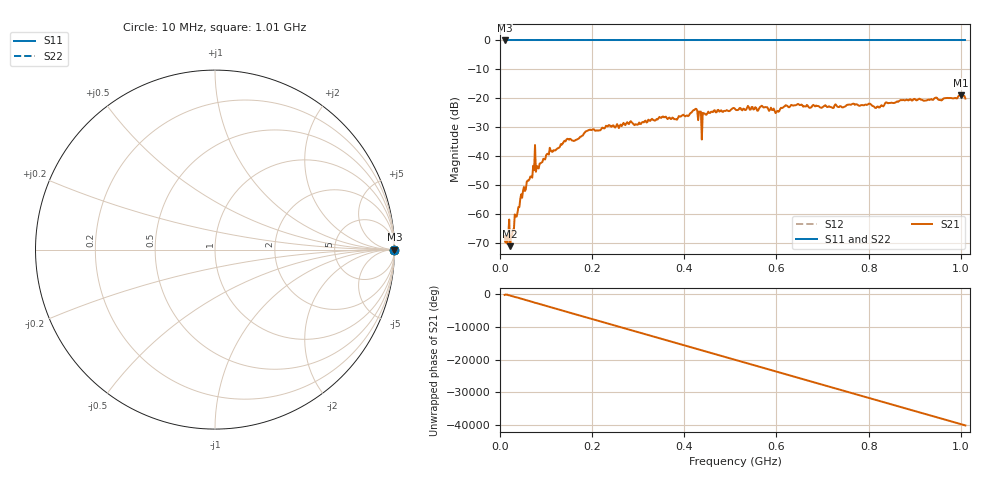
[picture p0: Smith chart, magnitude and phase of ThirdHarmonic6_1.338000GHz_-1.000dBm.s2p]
! 8/16/2025 3:00:07 PM
! C:\ANRITSUVNA\TEMP\TEMP.S2P
! CHANNEL.1
! TR.MEASUREMENT
! RAW.DATA
! RF.CORRECTION.OFF
! AVERAGING.OFF
! IF.BANDWIDTH: 5KHZ
! SWEEPTYPE:  FREQ.SWEEP(Linear)
! Reference Plane Port Info
! PORT:  PORT1  PORT2
! DISTANCE:  0  m  0  m
! TIME:  0  s  0  s
! PHASE.OFFSET:  0  deg.  0  deg.
! LOSS:  0  dB  0  dB
! REF.LOSS:  0  dB  0  dB
! REF.FREQ:  0  Hz  0  Hz
! Power Info
! POWER:  -20  dBm  -20  dBm
! EFF.POWER:  -20  dBm  -20  dBm
! SOURCE.ATTEN:  0  dB  0  dB
! TEST.ATTEN:  0  dB  0  dB
# GHZ S RI R 50.0
! FREQ.GHZ  S11RE  S11IM  S21RE  S21IM  S12RE  S12IM  S22RE  S22IM
!; PortSelection: Port_12
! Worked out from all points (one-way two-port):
!   501 points, 10 MHz to 1.01 GHz, reference 50 ohm
!   highest |S21| = -19.01 dB at 1 GHz (marker M1); lowest = -71.2 dB at 22 MHz (marker M2)
!   lowest |S11| = 0.0 dB at 10 MHz (marker M3)
!   |S11| at or under -10 dB: nowhere
!   |S22| runs from 0.0 to 0.0 dB; largest |S21 - S12| = 1.1
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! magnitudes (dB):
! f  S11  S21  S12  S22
! 10 MHz  0.0  -67.7  0.0  0.0
! 22 MHz  0.0  -71.2  0.0  0.0
! 26 MHz  0.0  -67.3  0.0  0.0
! 48 MHz  0.0  -54.4  0.0  0.0
! 76 MHz  0.0  -36.2  0.0  0.0
! 82 MHz  0.0  -44.1  0.0  0.0
! 106 MHz  0.0  -39.5  0.0  0.0
! 178 MHz  0.0  -33.0  0.0  0.0
! 344 MHz  0.0  -26.9  0.0  0.0
! 382 MHz  0.0  -27.3  0.0  0.0
! 424 MHz  0.0  -23.7  0.0  0.0
! 434 MHz  0.0  -24.7  0.0  0.0
! 442 MHz  0.0  -25.2  0.0  0.0
! 444 MHz  0.0  -25.2  0.0  0.0
! 510 MHz  0.0  -23.7  0.0  0.0
! 570 MHz  0.0  -22.9  0.0  0.0
! 602 MHz  0.0  -24.4  0.0  0.0
! 620 MHz  0.0  -22.4  0.0  0.0
! 678 MHz  0.0  -22.5  0.0  0.0
! 844 MHz  0.0  -21.6  0.0  0.0
! 1 GHz  0.0  -19.0  0.0  0.0
! 1.01 GHz  0.0  -20.1  0.0  0.0
